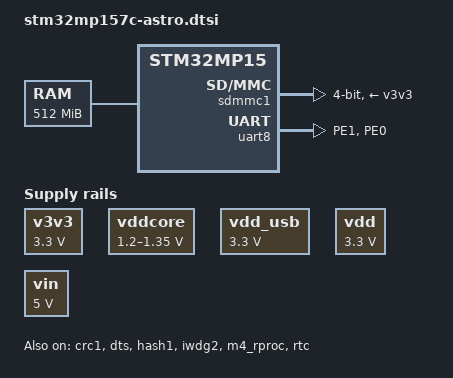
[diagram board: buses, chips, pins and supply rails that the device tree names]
// SPDX-License-Identifier: (GPL-2.0+ OR BSD-3-Clause)
/*
 * Copyright (C) STMicroelectronics 2019 - All Rights Reserved
 * Author: Alexandre Torgue <alexandre.torgue@st.com> for STMicroelectronics.
 */

#include "stm32mp15-m4-srm.dtsi"
#include "stm32mp15-m4-srm-pinctrl.dtsi"
#include <dt-bindings/gpio/gpio.h>
#include <dt-bindings/mfd/st,stpmic1.h>

/ {
	memory@c0000000 {
		device_type = "memory";
		reg = <0xc0000000 0x20000000>;
	};

	reserved-memory {
		#address-cells = <1>;
		#size-cells = <1>;
		ranges;

		mcuram2: mcuram2@10000000 {
			compatible = "shared-dma-pool";
			reg = <0x10000000 0x40000>;
			no-map;
		};

		vdev0vring0: vdev0vring0@10040000 {
			compatible = "shared-dma-pool";
			reg = <0x10040000 0x1000>;
			no-map;
		};

		vdev0vring1: vdev0vring1@10041000 {
			compatible = "shared-dma-pool";
			reg = <0x10041000 0x1000>;
			no-map;
		};

		vdev0buffer: vdev0buffer@10042000 {
			compatible = "shared-dma-pool";
			reg = <0x10042000 0x4000>;
			no-map;
		};

		mcuram: mcuram@30000000 {
			compatible = "shared-dma-pool";
			reg = <0x30000000 0x40000>;
			no-map;
		};

		retram: retram@38000000 {
			compatible = "shared-dma-pool";
			reg = <0x38000000 0x10000>;
			no-map;
		};
	};

	aliases {
		serial8 = &uart8;
	};

	usb_phy_tuning: usb-phy-tuning {
        st,hs-dc-level = <2>;
        st,fs-rftime-tuning;
        st,hs-rftime-reduction;
        st,hs-current-trim = <15>;
        st,hs-impedance-trim = <1>;
        st,squelch-level = <3>;
        st,hs-rx-offset = <2>;
        st,no-lsfs-sc;
    };

	v3v3: regulator-3p3v {
		compatible = "regulator-fixed";
        regulator-name = "v3v3";
        regulator-min-microvolt = <3300000>;
        regulator-max-microvolt = <3300000>;
        regulator-always-on;
        regulator-boot-on;
	};

	vddcore: buck1 {
		compatible = "regulator-fixed";
        regulator-name = "vddcore";
        regulator-min-microvolt = <1200000>;
        regulator-max-microvolt = <1350000>;
        regulator-always-on;
        regulator-boot-on;
	};

	vdd_usb: regulator-vdd-usb {
        compatible = "regulator-fixed";
        regulator-name = "vdd_usb";
        regulator-min-microvolt = <3300000>;
        regulator-max-microvolt = <3300000>;
        regulator-always-on;
        regulator-boot-on;
    };

    vdd: regulator-vdd {
        compatible = "regulator-fixed";
        regulator-name = "vdd";
        regulator-min-microvolt = <3300000>;
        regulator-max-microvolt = <3300000>;
        regulator-always-on;
        regulator-boot-on;
    };

	vin: regulator-vin {
        compatible = "regulator-fixed";
        regulator-name = "vin";
        regulator-min-microvolt = <5000000>;
        regulator-max-microvolt = <5000000>;
        regulator-always-on;
        regulator-boot-on;
    };

};

&cpu0{
	cpu-supply = <&vddcore>;
};

&cpu1{
	cpu-supply = <&vddcore>;
};

&crc1 {
	status = "okay";
};

&dma1 {
	sram = <&dma_pool>;
};

&dma2 {
	sram = <&dma_pool>;
};

&dts {
	status = "okay";
};

&hash1 {
	status = "okay";
};

&ipcc {
	status = "okay";
};

&iwdg2 {
	timeout-sec = <32>;
	status = "okay";
};

&m4_rproc {
	memory-region = <&retram>, <&mcuram>, <&mcuram2>, <&vdev0vring0>,
			<&vdev0vring1>, <&vdev0buffer>;
	mboxes = <&ipcc 0>, <&ipcc 1>, <&ipcc 2>;
	mbox-names = "vq0", "vq1", "shutdown";
	interrupt-parent = <&exti>;
	interrupts = <68 1>;
	wakeup-source;
	status = "okay";
};

&pwr_regulators {
	vdd-supply = <&vdd>;
	vdd_3v3_usbfs-supply = <&vdd_usb>;
};

&rtc {
	status = "okay";
};

&sdmmc1 {
	pinctrl-names = "default", "opendrain", "sleep";
	pinctrl-0 = <&sdmmc1_b4_pins_a>;
	pinctrl-1 = <&sdmmc1_b4_od_pins_a>;
	pinctrl-2 = <&sdmmc1_b4_sleep_pins_a>;
	broken-cd;
	st,neg-edge;
	bus-width = <4>;
    vmmc-supply = <&v3v3>;
	status = "okay";
};

&sram {
	dma_pool: dma_pool@0 {
		reg = <0x50000 0x10000>;
		pool;
	};
};

&uart8 {
    pinctrl-names = "default";
    pinctrl-0 = <&uart8_pins_mx>;
    /delete-property/dmas;
    /delete-property/dma-names;
    status = "okay";
};

&pinctrl {
    uart8_pins_mx: uart8-mx-0 {
        pins1 {
            pinmux = <STM32_PINMUX('E', 1, AF8)>; /* UART8_TX */
            bias-disable;
            drive-push-pull;
            slew-rate = <0>;
        };
        pins2 {
            pinmux = <STM32_PINMUX('E', 0, AF8)>; /* UART8_RX */
            bias-disable;
        };
    };
};
